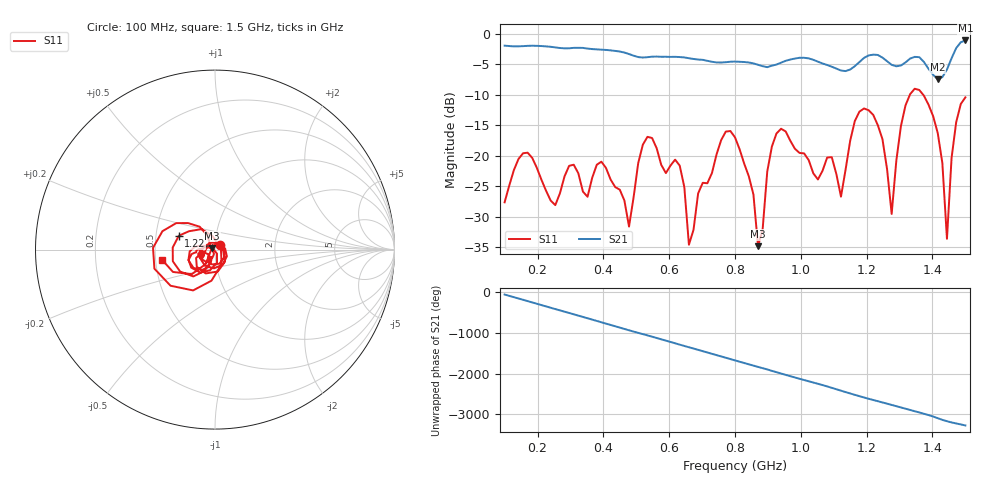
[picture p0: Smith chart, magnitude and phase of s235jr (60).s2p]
! NanoVNA-App
! Date: 2025-09-26 09:45:15
! Start: 100MHz Stop: 1,5GHz Points: 101
! S-Parameter data: F S11 S21 S12 S22
# Hz S RI R 50
!  Frequency  S11_Real  S11_Imag  S21_Real  S21_Imag  S12_Real  S12_Imag  S22_Real  S22_Imag
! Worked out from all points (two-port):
!   101 points, 100 MHz to 1.5 GHz, reference 50 ohm
!   highest |S21| = -1.11 dB at 1.5 GHz (marker M1); lowest = -7.5 dB at 1.416 GHz (marker M2)
!   |S21| within 3 dB of the highest: start of sweep to 670 MHz; 1.189 GHz to 1.252 GHz (63.35 MHz wide, 5.19 % of centre) (the widest 2 of 5)
!   lowest |S11| = -34.8 dB at 870 MHz (marker M3), VSWR 1.04, Z = 48.5 + j0.955 ohm
!   |S11| at or under -10 dB: start of sweep to 1.331 GHz; 1.371 GHz to end of sweep
!   S12 and S22 are empty: the file has one direction only
!   S11 on the Smith chart (normalised r, x): 100 MHz: 1.06, +0.06; 1.22 GHz: 0.66, +0.11; 1.5 GHz: 0.54, -0.07
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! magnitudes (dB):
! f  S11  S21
! 100 MHz  -27.6  -2.0
! 156 MHz  -19.6  -2.0
! 338 MHz  -25.9  -2.3
! 394 MHz  -21.0  -2.6
! 478 MHz  -31.6  -3.3
! 520 MHz  -18.2  -3.9
! 576 MHz  -21.5  -3.8
! 632 MHz  -21.6  -3.8
! 660 MHz  -34.6  -4.0
! 800 MHz  -17.0  -4.6
! 870 MHz  -34.8  -5.1
! 926 MHz  -16.4  -5.1
! 1.038 GHz  -22.9  -4.3
! 1.122 GHz  -26.7  -6.0
! 1.164 GHz  -14.3  -5.3
! 1.22 GHz  -13.3  -3.4
! 1.276 GHz  -29.6  -5.1
! 1.332 GHz  -9.9  -4.1
! 1.416 GHz  -16.3  -7.5
! 1.444 GHz  -33.6  -5.9
! 1.472 GHz  -14.5  -2.4
! 1.5 GHz  -10.4  -1.1
